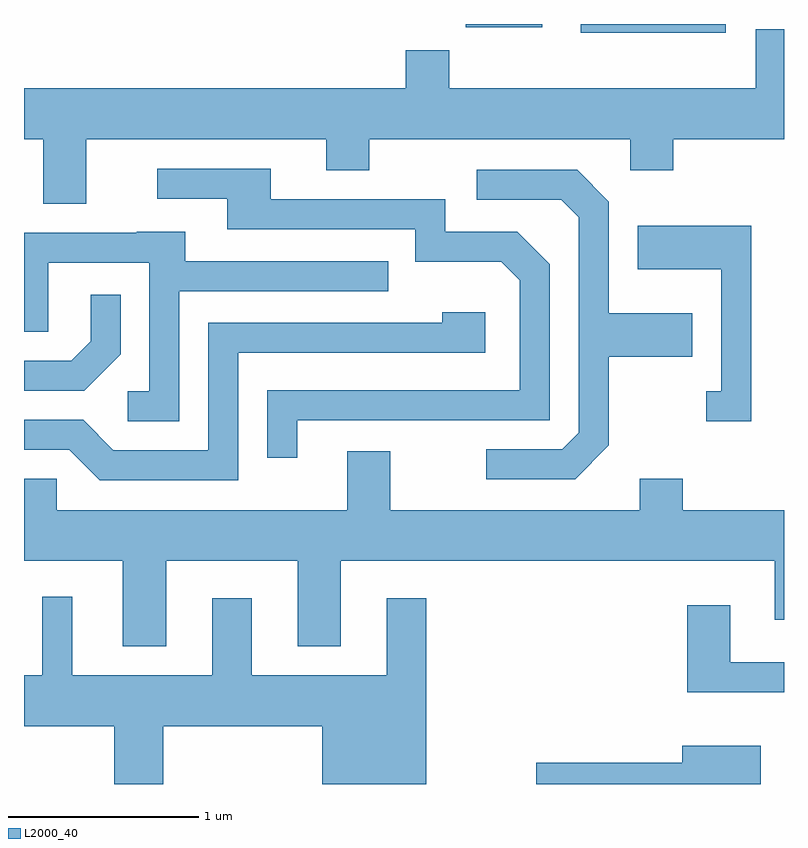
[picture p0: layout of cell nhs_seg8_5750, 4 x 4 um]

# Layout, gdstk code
import gdstk
lib = gdstk.Library(unit=1e-6, precision=1e-09)
def R(c, l, rs):  # rectangles x0, y0, x1, y1
    for r in rs: c.add(gdstk.rectangle(r[:2], r[2:], *l))
def P(c, l, *ps):  # polygons
    for p in ps: c.add(gdstk.Polygon(p, *l))
L2000_40 = (2000, 40)

nhs_seg8_5750 = lib.new_cell('nhs_seg8_5750')
R(nhs_seg8_5750, L2000_40, [(360.541,1850.296,361.304,1850.342), (359.936,1850.326,360.339,1850.342)])
P(nhs_seg8_5750, L2000_40, [(357.939,1849.736),(359.201,1849.736),(359.201,1849.571),(359.429,1849.571),(359.429,1849.736),(360.801,1849.736),(360.801,1849.571),(361.029,1849.571),(361.029,1849.736),(361.611,1849.736),(361.611,1850.314),(361.461,1850.314),(361.461,1850.004),(359.849,1850.004),(359.849,1850.204),(359.621,1850.204),(359.621,1850.004),(357.611,1850.004),(357.611,1849.736),(357.711,1849.736),(357.711,1849.396),(357.939,1849.396)],
  [(359.049,1848.256),(360.379,1848.256),(360.379,1849.077),(360.207,1849.249),(359.829,1849.249),(359.829,1849.419),(358.909,1849.419),(358.909,1849.579),(358.313,1849.579),(358.313,1849.421),(358.681,1849.421),(358.681,1849.261),(359.671,1849.261),(359.671,1849.091),(360.124,1849.091),(360.221,1848.994),(360.221,1848.414),(358.891,1848.414),(358.891,1848.058),(359.049,1848.058)],
  [(360.689,1848.124),(360.689,1848.591),(361.129,1848.591),(361.129,1848.819),(360.689,1848.819),(360.689,1849.407),(360.522,1849.574),(359.993,1849.574),(359.993,1849.416),(360.439,1849.416),(360.531,1849.324),(360.531,1848.192),(360.444,1848.104),(360.043,1848.104),(360.043,1847.946),(360.512,1847.946)],
  [(361.439,1849.279),(360.841,1849.279),(360.841,1849.051),(361.281,1849.051),(361.281,1848.409),(361.203,1848.409),(361.203,1848.251),(361.439,1848.251)],
  [(358.429,1848.936),(359.528,1848.936),(359.528,1849.094),(358.459,1849.094),(358.459,1849.249),(358.205,1849.249),(358.205,1849.244),(357.611,1849.244),(357.611,1848.721),(357.739,1848.721),(357.739,1849.086),(358.271,1849.086),(358.271,1848.409),(358.158,1848.409),(358.158,1848.251),(358.429,1848.251)],
  [(358.119,1848.604),(358.119,1848.918),(357.961,1848.918),(357.961,1848.672),(357.859,1848.569),(357.611,1848.569),(357.611,1848.411),(357.927,1848.411)],
  [(358.739,1848.611),(360.039,1848.611),(360.039,1848.824),(359.811,1848.824),(359.811,1848.769),(358.581,1848.769),(358.581,1848.099),(358.082,1848.099),(357.922,1848.259),(357.611,1848.259),(357.611,1848.101),(357.849,1848.101),(358.009,1847.941),(358.739,1847.941)],
  [(358.359,1847.516),(359.051,1847.516),(359.051,1847.066),(359.279,1847.066),(359.279,1847.516),(361.561,1847.516),(361.561,1847.206),(361.611,1847.206),(361.611,1847.784),(361.079,1847.784),(361.079,1847.949),(360.851,1847.949),(360.851,1847.784),(359.539,1847.784),(359.539,1848.094),(359.311,1848.094),(359.311,1847.784),(357.784,1847.784),(357.784,1847.949),(357.611,1847.949),(357.611,1847.516),(358.131,1847.516),(358.131,1847.066),(358.359,1847.066)],
  [(358.344,1846.646),(359.181,1846.646),(359.181,1846.342),(359.729,1846.342),(359.729,1847.319),(359.521,1847.319),(359.521,1846.914),(358.809,1846.914),(358.809,1847.319),(358.601,1847.319),(358.601,1846.914),(357.864,1846.914),(357.864,1847.328),(357.706,1847.328),(357.706,1846.914),(357.611,1846.914),(357.611,1846.646),(358.086,1846.646),(358.086,1846.342),(358.344,1846.342)],
  [(361.611,1846.984),(361.329,1846.984),(361.329,1847.284),(361.101,1847.284),(361.101,1846.826),(361.611,1846.826)],
  [(361.489,1846.544),(361.076,1846.544),(361.076,1846.454),(360.306,1846.454),(360.306,1846.342),(361.489,1846.342)])

lib.write_gds('nhs_seg8_5750.gds')
